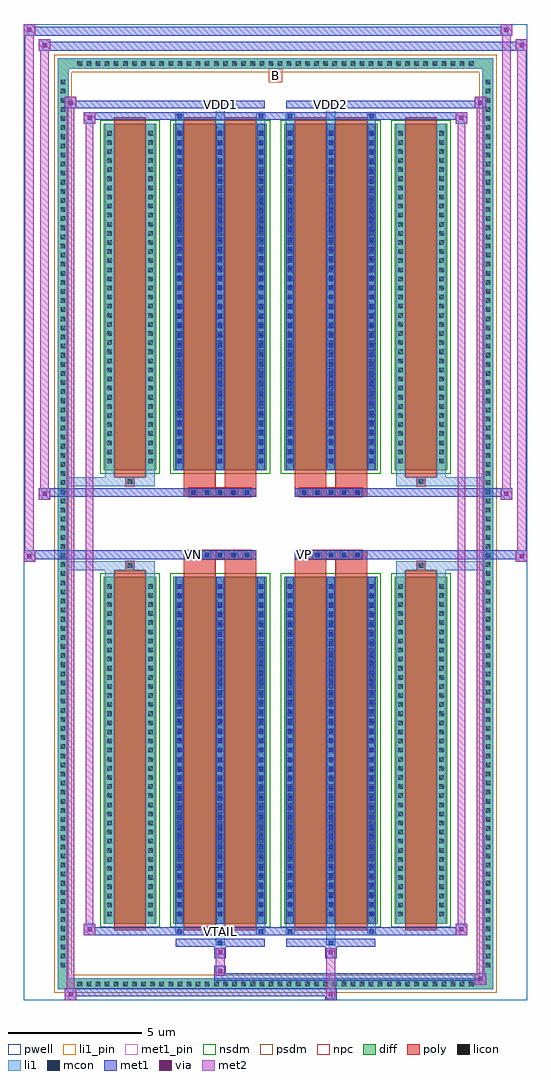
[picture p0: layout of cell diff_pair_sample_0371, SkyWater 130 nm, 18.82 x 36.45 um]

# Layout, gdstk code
import gdstk
lib = gdstk.Library(unit=1e-6, precision=5e-09)
def R(c, l, rs):  # rectangles x0, y0, x1, y1
    for r in rs: c.add(gdstk.rectangle(r[:2], r[2:], *l))
def A(c, l, x, y, w, h, nx, ny, dx, dy):  # array of equal rectangles
    R(c, l, [(x+i*dx, y+j*dy, x+i*dx+w, y+j*dy+h) for i in range(nx) for j in range(ny)])
def P(c, l, *ps):  # polygons
    for p in ps: c.add(gdstk.Polygon(p, *l))
pwell = (64, 44)
diff = (65, 20)
poly = (66, 20)
licon = (66, 44)
li1_pin = (67, 16)
li1 = (67, 20)
mcon = (67, 44)
met1_pin = (68, 16)
met1 = (68, 20)
via = (68, 44)
met2 = (69, 20)
nsdm = (93, 44)
psdm = (94, 20)
npc = (95, 20)

diff_pair_sample_0371 = lib.new_cell('diff_pair_sample_0371')
R(diff_pair_sample_0371, pwell, [(-9.41,-17.79,9.41,18.66), (-6.73,-15.98,-0.01,-0.8), (0.01,-15.98,6.73,-0.8), (-6.73,0.8,-0.01,15.98), (0.01,0.8,6.73,15.98)])
A(diff_pair_sample_0371, diff, -7.515, -17.39, 0.41, 0.41, 44, 2, 0.34, 34.37)
A(diff_pair_sample_0371, diff, -8.14, -16.695, 0.41, 0.41, 1, 98, 0, 0.34)
A(diff_pair_sample_0371, diff, 7.73, -16.695, 0.41, 0.41, 1, 98, 0, 0.34)
R(diff_pair_sample_0371, diff, [(-7.515,-17.39,7.515,-16.98), (-8.14,-16.695,-7.73,16.695), (7.73,-16.695,8.14,16.695), (-6.42,-14.935,-4.45,-1.985), (-3.81,-14.935,-0.32,-1.985), (0.32,-14.935,3.81,-1.985), (4.45,-14.935,6.42,-1.985), (-6.42,1.985,-4.45,14.935), (-3.81,1.985,-0.32,14.935), (0.32,1.985,3.81,14.935), (4.45,1.985,6.42,14.935), (-7.515,16.98,7.515,17.39)])
P(diff_pair_sample_0371, diff, [(8.14,17.39),(-8.14,17.39),(-8.14,-16.98),(-7.73,-16.98),(-7.73,16.98),(7.73,16.98),(7.73,-16.98),(-7.73,-16.98),(-8.14,-16.98),(-8.14,-17.39),(8.14,-17.39)])
A(diff_pair_sample_0371, poly, -3.23, -1.33, 0.33, 0.33, 5, 2, 0.5, 2.33)
A(diff_pair_sample_0371, poly, 0.9, -1.33, 0.33, 0.33, 5, 2, 0.5, 2.33)
R(diff_pair_sample_0371, poly, [(-6.03,-15.185,-4.84,-1.735), (-3.42,-15.185,-2.23,-1.735), (-1.9,-15.185,-0.71,-1.735), (0.71,-15.185,1.9,-1.735), (2.23,-15.185,3.42,-1.735), (4.84,-15.185,6.03,-1.735), (-5.6,-1.735,-5.27,-1.405), (-5.6,-1.735,-5.27,-1.405), (-3.42,-1.735,-2.23,-1.33), (-1.9,-1.735,-0.71,-1.33), (0.71,-1.735,1.9,-1.33), (2.23,-1.735,3.42,-1.33), (5.27,-1.735,5.6,-1.405), (5.27,-1.735,5.6,-1.405), (-3.42,-1.33,-0.71,-1), (0.71,-1.33,3.42,-1), (-3.42,1,-0.71,1.33), (0.71,1,3.42,1.33), (-3.42,1.33,-2.23,1.735), (-1.9,1.33,-0.71,1.735), (0.71,1.33,1.9,1.735), (2.23,1.33,3.42,1.735), (-5.6,1.405,-5.27,1.735), (-5.6,1.405,-5.27,1.735), (5.27,1.405,5.6,1.735), (5.27,1.405,5.6,1.735), (-6.03,1.735,-4.84,15.185), (-3.42,1.735,-2.23,15.185), (-1.9,1.735,-0.71,15.185), (0.71,1.735,1.9,15.185), (2.23,1.735,3.42,15.185), (4.84,1.735,6.03,15.185)])
A(diff_pair_sample_0371, licon, -7.395, -17.27, 0.17, 0.17, 44, 2, 0.34, 34.37)
A(diff_pair_sample_0371, licon, -8.02, -16.575, 0.17, 0.17, 1, 98, 0, 0.34)
A(diff_pair_sample_0371, licon, 7.85, -16.575, 0.17, 0.17, 1, 98, 0, 0.34)
A(diff_pair_sample_0371, licon, -6.28, -14.665, 0.17, 0.17, 1, 37, 0, 0.34)
A(diff_pair_sample_0371, licon, -4.76, -14.665, 0.17, 0.17, 1, 37, 0, 0.34)
A(diff_pair_sample_0371, licon, -3.67, -14.665, 0.17, 0.17, 3, 37, 1.52, 0.34)
A(diff_pair_sample_0371, licon, 0.46, -14.665, 0.17, 0.17, 3, 37, 1.52, 0.34)
A(diff_pair_sample_0371, licon, 4.59, -14.665, 0.17, 0.17, 1, 37, 0, 0.34)
A(diff_pair_sample_0371, licon, 6.11, -14.665, 0.17, 0.17, 1, 37, 0, 0.34)
A(diff_pair_sample_0371, licon, -3.15, -1.25, 0.17, 0.17, 5, 2, 0.5, 2.33)
A(diff_pair_sample_0371, licon, 0.98, -1.25, 0.17, 0.17, 5, 2, 0.5, 2.33)
A(diff_pair_sample_0371, licon, -6.28, 2.255, 0.17, 0.17, 1, 37, 0, 0.34)
A(diff_pair_sample_0371, licon, -4.76, 2.255, 0.17, 0.17, 1, 37, 0, 0.34)
A(diff_pair_sample_0371, licon, -3.67, 2.255, 0.17, 0.17, 3, 37, 1.52, 0.34)
A(diff_pair_sample_0371, licon, 0.46, 2.255, 0.17, 0.17, 3, 37, 1.52, 0.34)
A(diff_pair_sample_0371, licon, 4.59, 2.255, 0.17, 0.17, 1, 37, 0, 0.34)
A(diff_pair_sample_0371, licon, 6.11, 2.255, 0.17, 0.17, 1, 37, 0, 0.34)
R(diff_pair_sample_0371, licon, [(-5.52,-1.655,-5.35,-1.485), (5.35,-1.655,5.52,-1.485), (-5.52,1.485,-5.35,1.655), (5.35,1.485,5.52,1.655)])
R(diff_pair_sample_0371, li1_pin, [(-0.25,16.48,0.25,16.98)])
A(diff_pair_sample_0371, li1, -7.475, -17.35, 0.33, 0.33, 44, 2, 0.34, 34.37)
A(diff_pair_sample_0371, li1, -8.1, -16.655, 0.33, 0.33, 1, 98, 0, 0.34)
A(diff_pair_sample_0371, li1, 7.77, -16.655, 0.33, 0.33, 1, 98, 0, 0.34)
A(diff_pair_sample_0371, li1, -3.75, -14.935, 0.33, 12.95, 3, 2, 1.52, 16.92)
A(diff_pair_sample_0371, li1, 0.38, -14.935, 0.33, 12.95, 3, 2, 1.52, 16.92)
A(diff_pair_sample_0371, li1, -6.36, -14.745, 0.33, 0.33, 1, 37, 0, 0.34)
A(diff_pair_sample_0371, li1, -4.84, -14.745, 0.33, 0.33, 1, 37, 0, 0.34)
A(diff_pair_sample_0371, li1, -3.75, -14.745, 0.33, 0.33, 3, 37, 1.52, 0.34)
A(diff_pair_sample_0371, li1, 0.38, -14.745, 0.33, 0.33, 3, 37, 1.52, 0.34)
A(diff_pair_sample_0371, li1, 4.51, -14.745, 0.33, 0.33, 1, 37, 0, 0.34)
A(diff_pair_sample_0371, li1, 6.03, -14.745, 0.33, 0.33, 1, 37, 0, 0.34)
A(diff_pair_sample_0371, li1, -3.67, -14.665, 0.17, 0.17, 3, 35, 1.52, 0.36)
A(diff_pair_sample_0371, li1, -3.67, -14.665, 0.17, 12.41, 3, 2, 1.52, 16.92)
A(diff_pair_sample_0371, li1, 0.46, -14.665, 0.17, 0.17, 3, 35, 1.52, 0.36)
A(diff_pair_sample_0371, li1, 0.46, -14.665, 0.17, 12.41, 3, 2, 1.52, 16.92)
A(diff_pair_sample_0371, li1, -3.23, -1.33, 0.33, 0.33, 5, 2, 0.5, 2.33)
A(diff_pair_sample_0371, li1, 0.9, -1.33, 0.33, 0.33, 5, 2, 0.5, 2.33)
A(diff_pair_sample_0371, li1, -6.36, 2.175, 0.33, 0.33, 1, 37, 0, 0.34)
A(diff_pair_sample_0371, li1, -4.84, 2.175, 0.33, 0.33, 1, 37, 0, 0.34)
A(diff_pair_sample_0371, li1, -3.75, 2.175, 0.33, 0.33, 3, 37, 1.52, 0.34)
A(diff_pair_sample_0371, li1, 0.38, 2.175, 0.33, 0.33, 3, 37, 1.52, 0.34)
A(diff_pair_sample_0371, li1, 4.51, 2.175, 0.33, 0.33, 1, 37, 0, 0.34)
A(diff_pair_sample_0371, li1, 6.03, 2.175, 0.33, 0.33, 1, 37, 0, 0.34)
A(diff_pair_sample_0371, li1, -3.67, 2.255, 0.17, 0.17, 3, 35, 1.52, 0.36)
A(diff_pair_sample_0371, li1, 0.46, 2.255, 0.17, 0.17, 3, 35, 1.52, 0.36)
R(diff_pair_sample_0371, li1, [(-8.14,-17.39,-7.73,-16.98), (-8.14,-17.39,-7.73,-16.98), (-7.73,-17.39,7.73,-16.98), (7.73,-17.39,8.14,-16.98), (7.73,-17.39,8.14,-16.98), (-8.14,-16.98,-7.73,16.98), (7.73,-16.98,8.14,16.98), (-2.23,-15.74,-1.9,-14.935), (-2.15,-15.74,-1.98,-15.57), (1.9,-15.74,2.23,-14.935), (1.98,-15.74,2.15,-15.57), (-3.75,-15.31,-3.42,-14.935), (-3.67,-15.31,-3.5,-15.14), (-0.71,-15.31,-0.38,-14.935), (-0.63,-15.31,-0.46,-15.14), (0.38,-15.31,0.71,-14.935), (0.46,-15.31,0.63,-15.14), (3.42,-15.31,3.75,-14.935), (3.5,-15.31,3.67,-15.14), (-6.36,-14.935,-6.03,-1.985), (-4.84,-14.935,-4.51,-1.985), (4.51,-14.935,4.84,-1.985), (6.03,-14.935,6.36,-1.985), (-6.36,-1.985,-6.03,-1.405), (-4.84,-1.985,-4.51,-1.405), (4.51,-1.985,4.84,-1.405), (6.03,-1.985,6.36,-1.405), (-8.14,-1.735,-5.6,-1.405), (-6.36,-1.735,-5.6,-1.405), (-5.6,-1.735,-5.27,-1.405), (-5.27,-1.735,-4.51,-1.405), (4.51,-1.735,5.27,-1.405), (5.27,-1.735,5.6,-1.405), (5.27,-1.735,8.14,-1.405), (5.6,-1.735,6.36,-1.405), (-8.14,1.405,-5.6,1.735), (-6.36,1.405,-5.6,1.735), (-6.36,1.405,-6.03,1.985), (-5.6,1.405,-5.27,1.735), (-5.27,1.405,-4.51,1.735), (-4.84,1.405,-4.51,1.985), (4.51,1.405,5.27,1.735), (4.51,1.405,4.84,1.985), (5.27,1.405,5.6,1.735), (5.27,1.405,8.14,1.735), (5.6,1.405,6.36,1.735), (6.03,1.405,6.36,1.985), (-6.36,1.985,-6.03,14.935), (-4.84,1.985,-4.51,14.935), (4.51,1.985,4.84,14.935), (6.03,1.985,6.36,14.935), (-3.75,14.935,-3.42,15.31), (-2.23,14.935,-1.9,15.74), (-0.71,14.935,-0.38,15.31), (0.38,14.935,0.71,15.31), (1.9,14.935,2.23,15.74), (3.42,14.935,3.75,15.31), (-3.67,15.14,-3.5,15.31), (-0.63,15.14,-0.46,15.31), (0.46,15.14,0.63,15.31), (3.5,15.14,3.67,15.31), (-2.15,15.57,-1.98,15.74), (1.98,15.57,2.15,15.74), (-8.14,16.98,-7.73,17.39), (-8.14,16.98,-7.73,17.39), (-7.73,16.98,7.73,17.39), (7.73,16.98,8.14,17.39), (7.73,16.98,8.14,17.39)])
A(diff_pair_sample_0371, mcon, -3.67, -14.665, 0.17, 0.17, 3, 35, 1.52, 0.36)
A(diff_pair_sample_0371, mcon, 0.46, -14.665, 0.17, 0.17, 3, 35, 1.52, 0.36)
A(diff_pair_sample_0371, mcon, -3.15, -1.25, 0.17, 0.17, 5, 2, 0.5, 2.33)
A(diff_pair_sample_0371, mcon, 0.98, -1.25, 0.17, 0.17, 5, 2, 0.5, 2.33)
A(diff_pair_sample_0371, mcon, -3.67, 2.255, 0.17, 0.17, 3, 35, 1.52, 0.36)
A(diff_pair_sample_0371, mcon, 0.46, 2.255, 0.17, 0.17, 3, 35, 1.52, 0.36)
R(diff_pair_sample_0371, mcon, [(-2.15,-15.74,-1.98,-15.57), (1.98,-15.74,2.15,-15.57), (-3.67,-15.31,-3.5,-15.14), (-0.63,-15.31,-0.46,-15.14), (0.46,-15.31,0.63,-15.14), (3.5,-15.31,3.67,-15.14), (-3.67,15.14,-3.5,15.31), (-0.63,15.14,-0.46,15.31), (0.46,15.14,0.63,15.31), (3.5,15.14,3.67,15.31), (-2.15,15.57,-1.98,15.74), (1.98,15.57,2.15,15.74)])
R(diff_pair_sample_0371, met1_pin, [(-2.2,-15.35,-1.93,-15.08), (-3.2,-1.29,-2.93,-1.02), (0.93,-1.29,1.2,-1.02), (-2.2,15.53,-1.93,15.8), (1.93,15.53,2.2,15.8)])
A(diff_pair_sample_0371, met1, -3.73, -14.935, 0.29, 12.95, 3, 2, 1.52, 16.92)
A(diff_pair_sample_0371, met1, 0.4, -14.935, 0.29, 12.95, 3, 2, 1.52, 16.92)
A(diff_pair_sample_0371, met1, -3.73, -14.725, 0.29, 0.29, 3, 35, 1.52, 0.36)
A(diff_pair_sample_0371, met1, 0.4, -14.725, 0.29, 0.29, 3, 35, 1.52, 0.36)
A(diff_pair_sample_0371, met1, -3.21, -1.31, 0.29, 0.29, 5, 2, 0.5, 2.33)
A(diff_pair_sample_0371, met1, 0.92, -1.31, 0.29, 0.29, 5, 2, 0.5, 2.33)
A(diff_pair_sample_0371, met1, -3.73, 2.195, 0.29, 0.29, 3, 35, 1.52, 0.36)
A(diff_pair_sample_0371, met1, 0.4, 2.195, 0.29, 0.29, 3, 35, 1.52, 0.36)
R(diff_pair_sample_0371, met1, [(-7.87,-17.79,-7.44,-17.36), (1.85,-17.79,2.28,-17.36), (-7.87,-17.65,2.28,-17.36), (7.44,-17.22,7.87,-16.79), (-2.28,-17.08,7.87,-16.79), (-2.28,-16.94,-1.85,-16.51), (-2.28,-16.23,-1.85,-15.8), (1.85,-16.23,2.28,-15.8), (-3.73,-15.8,-0.4,-15.51), (-2.21,-15.8,-1.92,-15.51), (0.4,-15.8,3.73,-15.51), (1.92,-15.8,2.21,-15.51), (-7.16,-15.37,-6.73,-14.94), (-7.16,-15.37,-3.73,-15.08), (-3.73,-15.37,-3.44,-15.08), (-3.73,-15.37,-0.4,-15.08), (-0.69,-15.37,-0.4,-15.08), (-0.4,-15.37,0.4,-15.08), (0.4,-15.37,0.69,-15.08), (0.4,-15.37,3.73,-15.08), (3.44,-15.37,3.73,-15.08), (3.73,-15.37,7.16,-15.08), (6.73,-15.37,7.16,-14.94), (-9.41,-1.43,-8.98,-1), (8.98,-1.43,9.41,-1), (-9.41,-1.33,-0.71,-1), (-3.42,-1.33,-0.71,-1), (0.71,-1.33,3.42,-1), (0.71,-1.33,9.41,-1), (-8.84,0.9,-8.41,1.33), (8.41,0.9,8.84,1.33), (-8.84,1,-3.42,1.33), (-3.42,1,-0.71,1.33), (0.71,1,3.42,1.33), (3.42,1,8.84,1.33), (-7.16,14.94,-6.73,15.37), (6.73,14.94,7.16,15.37), (-7.16,15.08,-3.73,15.37), (-3.73,15.08,-3.44,15.37), (-3.73,15.08,-0.4,15.37), (-0.69,15.08,-0.4,15.37), (-0.4,15.08,0.4,15.37), (0.4,15.08,0.69,15.37), (0.4,15.08,3.73,15.37), (3.44,15.08,3.73,15.37), (3.73,15.08,7.16,15.37), (-7.87,15.51,-7.44,15.94), (-7.87,15.51,-3.73,15.8), (-3.73,15.51,-0.4,15.8), (-2.21,15.51,-1.92,15.8), (0.4,15.51,3.73,15.8), (1.92,15.51,2.21,15.8), (3.73,15.51,7.87,15.8), (7.44,15.51,7.87,15.94), (-8.84,17.66,-8.41,18.09), (-8.84,17.66,-6.73,17.99), (-6.73,17.66,6.73,17.99), (6.73,17.66,9.41,17.99), (8.98,17.66,9.41,18.09), (-9.41,18.23,-8.98,18.66), (-9.41,18.23,-6.73,18.56), (-6.73,18.23,6.73,18.56), (6.73,18.23,8.84,18.56), (8.41,18.23,8.84,18.66)])
R(diff_pair_sample_0371, via, [(-7.73,-17.65,-7.58,-17.5), (1.99,-17.65,2.14,-17.5), (7.58,-17.08,7.73,-16.93), (-2.14,-16.8,-1.99,-16.65), (-2.14,-16.09,-1.99,-15.94), (1.99,-16.09,2.14,-15.94), (-7.02,-15.23,-6.87,-15.08), (6.87,-15.23,7.02,-15.08), (-9.27,-1.29,-9.12,-1.14), (9.12,-1.29,9.27,-1.14), (-8.7,1.04,-8.55,1.19), (8.55,1.04,8.7,1.19), (-7.02,15.08,-6.87,15.23), (6.87,15.08,7.02,15.23), (-7.73,15.65,-7.58,15.8), (7.58,15.65,7.73,15.8), (-8.7,17.8,-8.55,17.95), (9.12,17.8,9.27,17.95), (-9.27,18.37,-9.12,18.52), (8.55,18.37,8.7,18.52)])
R(diff_pair_sample_0371, met2, [(-7.87,-17.79,-7.44,-17.36), (-7.8,-17.79,-7.51,15.94), (-7.51,-17.79,-7.44,-17.36), (-7.82,-17.74,-7.49,-17.41), (1.9,-17.74,2.23,-17.41), (1.9,-17.41,2.23,-16.18), (7.44,-17.22,7.87,-16.79), (7.51,-17.22,7.8,15.94), (7.8,-17.22,7.87,-16.79), (7.49,-17.17,7.82,-16.84), (-2.23,-16.89,-1.9,-16.56), (-2.23,-16.56,-1.9,-16.18), (-2.23,-16.18,-1.9,-15.85), (1.9,-16.18,2.23,-15.85), (-7.16,-15.37,-6.73,-14.94), (-7.09,-15.37,-6.8,15.37), (-6.8,-15.37,-6.73,-14.94), (6.73,-15.37,7.16,-14.94), (6.8,-15.37,7.09,15.37), (7.09,-15.37,7.16,-14.94), (-7.11,-15.32,-6.78,-14.99), (6.78,-15.32,7.11,-14.99), (-9.41,-1.43,-8.98,-1), (-9.36,-1.43,-9.03,18.66), (-9.03,-1.43,-8.98,-1), (8.98,-1.43,9.41,-1), (9.03,-1.43,9.36,18.09), (9.36,-1.43,9.41,-1), (-9.36,-1.38,-9.03,-1.05), (9.03,-1.38,9.36,-1.05), (-8.84,0.9,-8.41,1.33), (-8.79,0.9,-8.46,18.09), (-8.46,0.9,-8.41,1.33), (8.41,0.9,8.84,1.33), (8.46,0.9,8.79,18.66), (8.79,0.9,8.84,1.33), (-8.79,0.95,-8.46,1.28), (8.46,0.95,8.79,1.28), (-7.16,14.94,-6.73,15.37), (-6.8,14.94,-6.73,15.37), (6.73,14.94,7.16,15.37), (7.09,14.94,7.16,15.37), (-7.11,14.99,-6.78,15.32), (6.78,14.99,7.11,15.32), (-7.87,15.51,-7.44,15.94), (-7.51,15.51,-7.44,15.94), (7.44,15.51,7.87,15.94), (7.8,15.51,7.87,15.94), (-7.82,15.56,-7.49,15.89), (7.49,15.56,7.82,15.89), (-8.84,17.66,-8.41,18.09), (-8.46,17.66,-8.41,18.09), (8.98,17.66,9.41,18.09), (9.36,17.66,9.41,18.09), (-8.79,17.71,-8.46,18.04), (9.03,17.71,9.36,18.04), (-9.41,18.23,-8.98,18.66), (-9.03,18.23,-8.98,18.66), (8.41,18.23,8.84,18.66), (8.79,18.23,8.84,18.66), (-9.36,18.28,-9.03,18.61), (8.46,18.28,8.79,18.61)])
R(diff_pair_sample_0371, nsdm, [(-6.55,-15.065,-4.32,-1.855), (-3.94,-15.065,-0.19,-1.855), (0.19,-15.065,3.94,-1.855), (4.32,-15.065,6.55,-1.855), (-6.55,1.855,-4.32,15.065), (-3.94,1.855,-0.19,15.065), (0.19,1.855,3.94,15.065), (4.32,1.855,6.55,15.065)])
P(diff_pair_sample_0371, psdm, [(8.27,17.52),(-8.27,17.52),(-8.27,-16.85),(-7.6,-16.85),(-7.6,16.85),(7.6,16.85),(7.6,-16.85),(-7.6,-16.85),(-8.27,-16.85),(-8.27,-17.52),(8.27,-17.52)])
A(diff_pair_sample_0371, npc, -3.25, -1.35, 0.37, 0.37, 5, 2, 0.5, 2.33)
A(diff_pair_sample_0371, npc, 0.88, -1.35, 0.37, 0.37, 5, 2, 0.5, 2.33)
R(diff_pair_sample_0371, npc, [(-5.62,-1.755,-5.25,-1.385), (5.25,-1.755,5.62,-1.385), (-3.25,-1.35,-2.38,-0.98), (-3.25,-1.35,-2.38,-0.98), (-2.75,-1.35,-1.88,-0.98), (-2.75,-1.35,-1.88,-0.98), (-2.25,-1.35,-1.38,-0.98), (-2.25,-1.35,-1.38,-0.98), (-1.75,-1.35,-0.88,-0.98), (-1.75,-1.35,-0.88,-0.98), (0.88,-1.35,1.75,-0.98), (0.88,-1.35,1.75,-0.98), (1.38,-1.35,2.25,-0.98), (1.38,-1.35,2.25,-0.98), (1.88,-1.35,2.75,-0.98), (1.88,-1.35,2.75,-0.98), (2.38,-1.35,3.25,-0.98), (2.38,-1.35,3.25,-0.98), (-3.25,0.98,-2.38,1.35), (-3.25,0.98,-2.38,1.35), (-2.75,0.98,-1.88,1.35), (-2.75,0.98,-1.88,1.35), (-2.25,0.98,-1.38,1.35), (-2.25,0.98,-1.38,1.35), (-1.75,0.98,-0.88,1.35), (-1.75,0.98,-0.88,1.35), (0.88,0.98,1.75,1.35), (0.88,0.98,1.75,1.35), (1.38,0.98,2.25,1.35), (1.38,0.98,2.25,1.35), (1.88,0.98,2.75,1.35), (1.88,0.98,2.75,1.35), (2.38,0.98,3.25,1.35), (2.38,0.98,3.25,1.35), (-5.62,1.385,-5.25,1.755), (5.25,1.385,5.62,1.755)])
diff_pair_sample_0371.add(gdstk.Label('VTAIL', (-2.065,-15.215), layer=68, texttype=5))
diff_pair_sample_0371.add(gdstk.Label('VN', (-3.065,-1.155), layer=68, texttype=5))
diff_pair_sample_0371.add(gdstk.Label('VP', (1.065,-1.155), layer=68, texttype=5))
diff_pair_sample_0371.add(gdstk.Label('B', (0,16.73), layer=67, texttype=5))
diff_pair_sample_0371.add(gdstk.Label('VDD2', (2.065,15.665), layer=68, texttype=5))
diff_pair_sample_0371.add(gdstk.Label('VDD1', (-2.065,15.665), layer=68, texttype=5))

lib.write_gds('diff_pair_sample_0371.gds')
